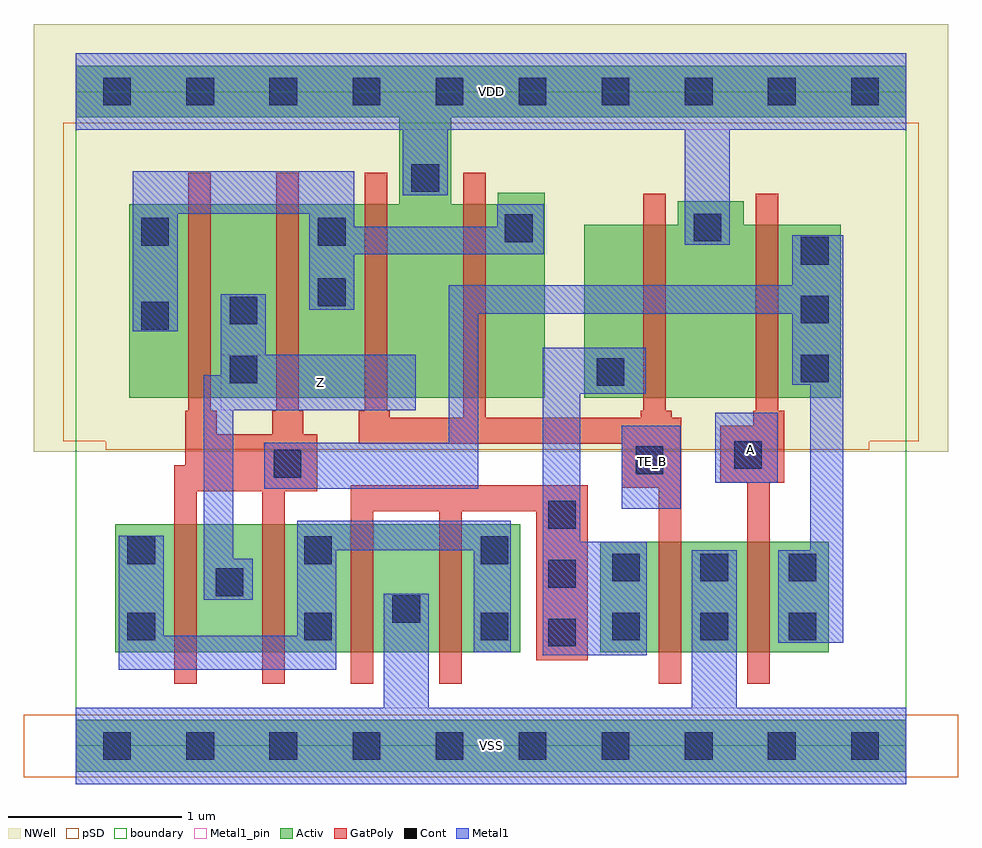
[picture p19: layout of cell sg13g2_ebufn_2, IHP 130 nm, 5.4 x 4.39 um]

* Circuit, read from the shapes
.subckt sg13g2_ebufn_2 A TE_B VDD VSS Z
XM1 Z n1 n2 VSS sg13_lv_nmos w=0.74u l=0.13u m=2
XM2 VSS n3 n2 VSS sg13_lv_nmos w=0.74u l=0.13u m=2
XM3 VSS TE_B n3 VSS sg13_lv_nmos w=0.64u l=0.13u
XM4 n1 A VSS VSS sg13_lv_nmos w=0.64u l=0.13u
XM5 Z n1 n4 VDD sg13_lv_pmos w=1.12u l=0.13u m=2
XM6 VDD TE_B n4 VDD sg13_lv_pmos w=1.12u l=0.13u m=2
XM7 VDD TE_B n3 VDD sg13_lv_pmos w=1u l=0.13u
XM8 n1 A VDD VDD sg13_lv_pmos w=1u l=0.13u
.ends

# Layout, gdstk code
import gdstk
lib = gdstk.Library(unit=1e-6, precision=1e-09)
def R(c, l, rs):  # rectangles x0, y0, x1, y1
    for r in rs: c.add(gdstk.rectangle(r[:2], r[2:], *l))
def A(c, l, x, y, w, h, nx, ny, dx, dy):  # array of equal rectangles
    R(c, l, [(x+i*dx, y+j*dy, x+i*dx+w, y+j*dy+h) for i in range(nx) for j in range(ny)])
def P(c, l, *ps):  # polygons
    for p in ps: c.add(gdstk.Polygon(p, *l))
Activ = (1, 0)
GatPoly = (5, 0)
Cont = (6, 0)
Metal1 = (8, 0)
Metal1_pin = (8, 2)
pSD = (14, 0)
NWell = (31, 0)
boundary = (189, 4)

sg13g2_ebufn_2 = lib.new_cell('sg13g2_ebufn_2')
R(sg13g2_ebufn_2, Activ, [(0,-0.15,4.8,0.15), (0.23,0.54,2.57,1.28), (3.03,0.54,4.35,1.18)])
P(sg13g2_ebufn_2, Activ, [(4.42,3.01),(3.86,3.01),(3.86,3.145),(3.48,3.145),(3.48,3.01),(2.94,3.01),(2.94,2.01),(4.42,2.01)],
  [(4.8,3.93),(0,3.93),(0,3.63),(1.87,3.63),(1.87,3.13),(0.31,3.13),(0.31,2.01),(2.71,2.01),(2.71,3.195),(2.44,3.195),(2.44,3.13),(2.17,3.13),(2.17,3.63),(4.8,3.63)])
P(sg13g2_ebufn_2, GatPoly, [(1.395,1.8),(1.315,1.8),(1.315,1.935),(1.29,1.935),(1.29,3.31),(1.16,3.31),(1.16,1.935),(1.135,1.935),(1.135,1.8),(0.815,1.8),(0.815,1.935),(0.78,1.935),(0.78,3.31),(0.65,3.31),(0.65,1.935),(0.635,1.935),(0.635,1.62),(0.57,1.62),(0.57,0.36),(0.7,0.36),(0.7,1.47),(1.08,1.47),(1.08,0.36),(1.21,0.36),(1.21,1.47),(1.395,1.47)],
  [(2.96,1.505),(1.59,1.505),(1.59,0.36),(1.72,0.36),(1.72,1.355),(2.1,1.355),(2.1,0.36),(2.23,0.36),(2.23,1.355),(2.66,1.355),(2.66,0.495),(2.96,0.495)],
  [(3.5,1.895),(3.445,1.895),(3.445,1.935),(3.41,1.935),(3.41,3.19),(3.28,3.19),(3.28,1.935),(3.265,1.935),(3.265,1.895),(2.37,1.895),(2.37,3.31),(2.24,3.31),(2.24,1.895),(1.815,1.895),(1.815,1.935),(1.8,1.935),(1.8,3.31),(1.67,3.31),(1.67,1.935),(1.635,1.935),(1.635,1.745),(3.155,1.745),(3.155,1.49),(3.37,1.49),(3.37,0.36),(3.5,0.36)],
  [(4.095,1.935),(4.06,1.935),(4.06,3.19),(3.93,3.19),(3.93,1.935),(3.915,1.935),(3.915,1.85),(3.725,1.85),(3.725,1.52),(3.88,1.52),(3.88,0.36),(4.01,0.36),(4.01,1.52),(4.095,1.52)])
A(sg13g2_ebufn_2, Cont, 0.16, -0.08, 0.16, 0.16, 10, 2, 0.48, 3.78)
A(sg13g2_ebufn_2, Cont, 2.73, 0.575, 0.16, 0.16, 1, 3, 0, 0.34)
A(sg13g2_ebufn_2, Cont, 0.3, 0.61, 0.16, 0.16, 3, 2, 1.02, 0.44)
A(sg13g2_ebufn_2, Cont, 3.1, 0.61, 0.16, 0.16, 3, 2, 0.51, 0.34)
A(sg13g2_ebufn_2, Cont, 4.19, 2.1, 0.16, 0.16, 1, 3, 0, 0.34)
R(sg13g2_ebufn_2, Cont, [(1.83,0.71,1.99,0.87), (0.81,0.865,0.97,1.025), (1.145,1.55,1.305,1.71), (3.235,1.57,3.395,1.73), (3.805,1.6,3.965,1.76), (3.01,2.08,3.17,2.24), (0.89,2.095,1.05,2.255), (0.38,2.405,0.54,2.565), (0.89,2.435,1.05,2.595), (1.4,2.54,1.56,2.7), (0.38,2.89,0.54,3.05), (1.4,2.89,1.56,3.05), (2.48,2.91,2.64,3.07), (3.57,2.915,3.73,3.075), (1.94,3.2,2.1,3.36)])
R(sg13g2_ebufn_2, Metal1, [(3.155,1.37,3.495,1.85), (3.695,1.52,4.055,1.925)])
P(sg13g2_ebufn_2, Metal1, [(4.8,4),(0,4),(0,3.56),(1.89,3.56),(1.89,3.18),(2.15,3.18),(2.15,3.56),(3.52,3.56),(3.52,2.895),(3.78,2.895),(3.78,3.56),(4.8,3.56)],
  [(4.435,2.95),(4.14,2.95),(4.14,2.66),(2.155,2.66),(2.155,1.75),(1.09,1.75),(1.09,1.485),(2.325,1.485),(2.325,2.495),(4.14,2.495),(4.14,2.085),(4.245,2.085),(4.245,1.13),(4.06,1.13),(4.06,0.595),(4.435,0.595)],
  [(2.705,3.13),(2.435,3.13),(2.435,3),(1.61,3),(1.61,3.32),(0.33,3.32),(0.33,2.395),(0.59,2.395),(0.59,3.075),(1.35,3.075),(1.35,2.52),(1.61,2.52),(1.61,2.84),(2.705,2.84)],
  [(3.3,1.18),(2.915,1.18),(2.915,2.035),(3.295,2.035),(3.295,2.3),(2.7,2.3),(2.7,0.525),(3.3,0.525)],
  [(4.8,0.22),(3.82,0.22),(3.82,1.13),(3.56,1.13),(3.56,0.22),(2.04,0.22),(2.04,0.88),(1.78,0.88),(1.78,0.22),(0,0.22),(0,-0.22),(4.8,-0.22)],
  [(2.515,1.3),(1.28,1.3),(1.28,0.635),(0.51,0.635),(0.51,1.215),(0.25,1.215),(0.25,0.44),(1.505,0.44),(1.505,1.13),(2.3,1.13),(2.3,0.54),(2.515,0.54)],
  [(1.965,2.26),(1.1,2.26),(1.1,2.61),(0.84,2.61),(0.84,2.14),(0.74,2.14),(0.74,0.845),(1.025,0.845),(1.025,1.08),(0.91,1.08),(0.91,1.94),(1.965,1.94)])
R(sg13g2_ebufn_2, Metal1_pin, [(0,-0.22,4.8,0.22), (3.155,1.37,3.495,1.85), (3.695,1.52,4.055,1.925), (0.84,1.94,1.965,2.26), (0,3.56,4.8,4)])
R(sg13g2_ebufn_2, pSD, [(-0.3,-0.18,5.1,0.18)])
P(sg13g2_ebufn_2, pSD, [(4.87,3.6),(-0.07,3.6),(-0.07,1.76),(0.175,1.76),(0.175,1.71),(4.585,1.71),(4.585,1.76),(4.87,1.76)])
R(sg13g2_ebufn_2, NWell, [(-0.24,1.7,5.04,4.17)])
R(sg13g2_ebufn_2, boundary, [(0,0,4.8,3.78)])
sg13g2_ebufn_2.add(gdstk.Label('Z', (1.415,2.1), layer=8, texttype=25))
sg13g2_ebufn_2.add(gdstk.Label('A', (3.9,1.715), layer=8, texttype=25))
sg13g2_ebufn_2.add(gdstk.Label('TE_B', (3.33,1.64), layer=8, texttype=25))
sg13g2_ebufn_2.add(gdstk.Label('VDD', (2.4,3.78), layer=8, texttype=25))
sg13g2_ebufn_2.add(gdstk.Label('VSS', (2.4,0), layer=8, texttype=25))

lib.write_gds('sg13g2_ebufn_2.gds')
